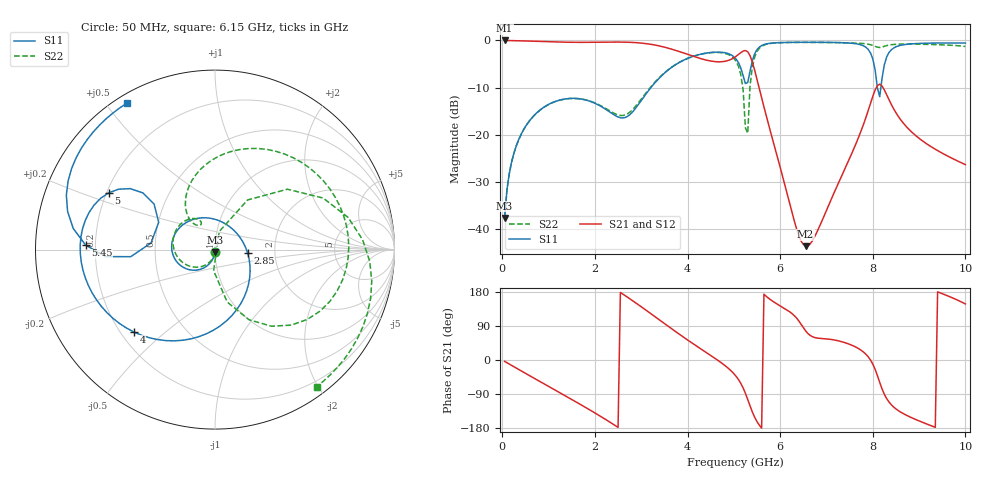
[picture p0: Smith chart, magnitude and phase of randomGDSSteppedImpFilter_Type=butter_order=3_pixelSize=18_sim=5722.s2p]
! freq	dB(S11)	phase(S11)	dB(S12)	phase(S12)
!  dB(S21)	phase(S21)	dB(S22)	phase(S22)
!S-par simulation data
#  GHz  S  DB  R 50
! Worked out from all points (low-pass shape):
!   200 points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, 50 MHz to 10 GHz, reference 50 ohm
!   highest |S21| = -0.01 dB at 50 MHz (marker M1); lowest = -43.7 dB at 6.55 GHz (marker M2)
!   |S21| within 3 dB of the highest: start of sweep to 4.015 GHz; 5.097 GHz to 5.336 GHz (238.8 MHz wide, 4.58 % of centre)
!   lowest |S11| = -37.7 dB at 50 MHz (marker M3), VSWR 1.03, Z = 49.9 - j1.3 ohm
!   |S11| at or under -10 dB: start of sweep to 3.21 GHz; 8.099 GHz to 8.175 GHz (76.21 MHz wide, 0.937 % of centre)
!   |S22| runs from -37.7 to -0.4 dB; largest |S21 - S12| = 0
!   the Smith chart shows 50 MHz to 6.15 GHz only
!   S11 on the Smith chart (normalised r, x): 50 MHz: 1.00, -0.03; 2.85 GHz: 1.44, -0.06; 4 GHz: 0.25, -0.40; 5 GHz: 0.21, +0.24; 5.45 GHz: 0.16, +0.02; 6.15 GHz: 0.03, +0.56
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0.05  -37.68 -91.7  -0.01 -3.6  -0.01 -3.6  -37.69 -92.4
0.2  -25.84 -102.5  -0.04 -14.2  -0.04 -14.2  -25.86 -105.3
0.5  -18.28 -122.2  -0.12 -35.2  -0.12 -35.2  -18.31 -128.8
1.75  -12.52 154.1  -0.41 -121.7  -0.41 -121.7  -12.50 141.8
2.85  -14.75 -6.2  -0.45 153.4  -0.45 153.4  -14.29 129.7
3.4  -7.89 -81.1  -1.19 105.2  -1.19 105.2  -7.79 108.1
4  -3.82 -134.5  -2.96 52.9  -2.96 52.9  -3.82 58.1
4.6  -2.49 -178.4  -4.51 3.8  -4.51 3.8  -2.55 5.7
5  -3.46 151.9  -3.69 -36.1  -3.69 -36.1  -3.81 -37.1
5.05  -3.97 147.9  -3.36 -43.3  -3.36 -43.3  -4.47 -44.7
5.3  -8.92 174.1  -2.42 -104.3  -2.42 -104.3  -19.72 76.9
5.45  -2.84 178.0  -6.33 -151.2  -6.33 -151.2  -3.51 25.5
5.65  -0.88 155.0  -14.11 173.7  -14.11 173.7  -1.00 -11.3
6.15  -0.43 121.2  -32.45 131.8  -32.45 131.8  -0.44 -53.4
6.55  -0.40 100.3  -43.66 76.9  -43.66 76.9  -0.41 -75.5
6.7  -0.40 92.8  -42.45 61.3  -42.45 61.3  -0.42 -82.9
7.8  -1.16 21.2  -17.80 20.9  -17.80 20.9  -0.67 -132.4
8.05  -6.20 -45.5  -10.53 -24.4  -10.53 -24.4  -1.27 -143.2
8.2  -8.07 143.6  -9.67 -76.2  -9.67 -76.2  -1.40 -144.9
8.35  -2.58 85.2  -12.59 -110.8  -12.59 -110.8  -0.98 -150.2
8.9  -0.68 31.7  -19.97 -155.6  -19.97 -155.6  -0.79 -176.3
10  -0.55 -13.9  -26.36 147.9  -26.36 147.9  -1.28 117.6
